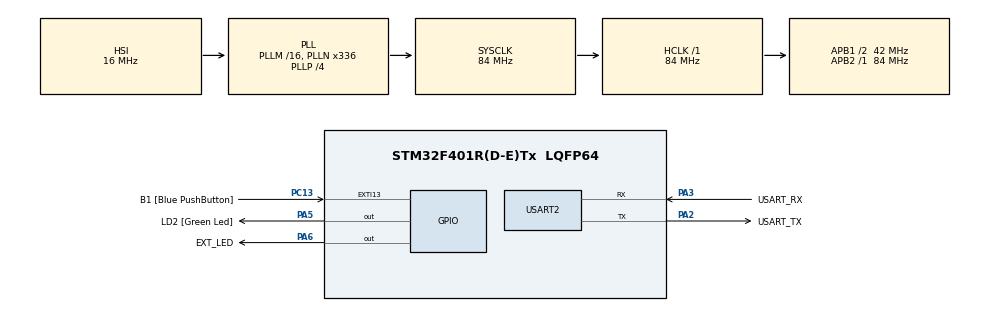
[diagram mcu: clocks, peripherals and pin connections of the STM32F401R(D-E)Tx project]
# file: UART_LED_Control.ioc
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Mcu.Family=STM32F4
Mcu.Name=STM32F401R(D-E)Tx
Mcu.Package=LQFP64
NVIC.EXTI15_10_IRQn=true\:0\:0\:false\:false\:true\:true\:true\:true
NVIC.PriorityGroup=NVIC_PRIORITYGROUP_4
NVIC.USART2_IRQn=true\:0\:0\:false\:false\:true\:true\:true\:true
PA13.GPIO_Label=TMS
PA13.Mode=Trace_Asynchronous_SW
PA13.Signal=SYS_JTMS-SWDIO
PA14.GPIO_Label=TCK
PA14.Mode=Trace_Asynchronous_SW
PA14.Signal=SYS_JTCK-SWCLK
PA2.GPIO_Label=USART_TX
PA2.GPIO_Mode=GPIO_MODE_AF_PP
PA2.GPIO_PuPd=GPIO_NOPULL
PA2.GPIO_Speed=GPIO_SPEED_FREQ_LOW
PA2.Mode=Asynchronous
PA2.Signal=USART2_TX
PA3.GPIO_Label=USART_RX
PA3.GPIO_Mode=GPIO_MODE_AF_PP
PA3.GPIO_PuPd=GPIO_NOPULL
PA3.GPIO_Speed=GPIO_SPEED_FREQ_LOW
PA3.Mode=Asynchronous
PA3.Signal=USART2_RX
PA5.GPIO_Label=LD2 [Green Led]
PA5.GPIO_Mode=GPIO_MODE_OUTPUT_PP
PA5.GPIO_PuPd=GPIO_NOPULL
PA5.GPIO_Speed=GPIO_SPEED_FREQ_LOW
PA5.Signal=GPIO_Output
PA6.GPIO_Label=EXT_LED
PA6.Signal=GPIO_Output
PB3.GPIO_Label=SWO
PB3.Mode=Trace_Asynchronous_SW
PB3.Signal=SYS_JTDO-SWO
PC13-ANTI_TAMP.GPIO_Label=B1 [Blue PushButton]
PC13-ANTI_TAMP.GPIO_ModeDefaultEXTI=GPIO_MODE_IT_FALLING
PC13-ANTI_TAMP.GPIO_PuPd=GPIO_NOPULL
PC13-ANTI_TAMP.Signal=GPXTI13
PC14-OSC32_IN.Mode=LSE-External-Oscillator
PC14-OSC32_IN.Signal=RCC_OSC32_IN
PC15-OSC32_OUT.Mode=LSE-External-Oscillator
PC15-OSC32_OUT.Signal=RCC_OSC32_OUT
PH0\ -\ OSC_IN.Mode=HSE-External-Clock-Source
PH0\ -\ OSC_IN.Signal=RCC_OSC_IN
PH1\ -\ OSC_OUT.Mode=HSE-External-Clock-Source
PH1\ -\ OSC_OUT.Signal=RCC_OSC_OUT
ProjectManager.HeapSize=0x200
ProjectManager.StackSize=0x400
ProjectManager.TargetToolchain=STM32CubeIDE
RCC.48MHZClocksFreq_Value=48000000
RCC.AHBFreq_Value=84000000
RCC.APB1CLKDivider=RCC_HCLK_DIV2
RCC.APB1Freq_Value=42000000
RCC.APB1TimFreq_Value=84000000
RCC.APB2Freq_Value=84000000
RCC.APB2TimFreq_Value=84000000
RCC.CortexFreq_Value=84000000
RCC.HCLKFreq_Value=84000000
RCC.HSE_VALUE=8000000
RCC.HSI_VALUE=16000000
RCC.PLLN=336
RCC.PLLP=RCC_PLLP_DIV4
RCC.PLLQ=7
RCC.SYSCLKFreq_VALUE=84000000
RCC.SYSCLKSource=RCC_SYSCLKSOURCE_PLLCLK
RCC.VCOOutputFreq_Value=336000000
USART2.VirtualMode=VM_ASYNC
board=NUCLEO-F401RE

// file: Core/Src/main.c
/* USER CODE BEGIN Header */
/**
  ******************************************************************************
  * @file           : main.c
  * @brief          : Main program body
  ******************************************************************************
  * @attention
  *
  * Copyright (c) 2026 STMicroelectronics.
  * All rights reserved.
  *
  * This software is licensed under terms that can be found in the LICENSE file
  * in the root directory of this software component.
  * If no LICENSE file comes with this software, it is provided AS-IS.
  *
  ******************************************************************************
  */
/* USER CODE END Header */
#include "main.h"

UART_HandleTypeDef huart2;

/* USER CODE BEGIN PV */
/* Temporary byte filled directly by UART reception */
	uint8_t uartRxByte;

	/* Command copied from uartRxByte */
	volatile uint8_t receivedByte;

	/* Set by the interrupt callback when a new command arrives */
	volatile uint8_t uartCommandReady = 0;

	/* Controls automatic blinking of the internal LED */
	uint8_t blinkMode = 0;

	/* Time of the previous LED toggle */
	uint32_t previousTime = 0;

/* USER CODE END PV */

void SystemClock_Config(void);
static void MX_GPIO_Init(void);
static void MX_USART2_UART_Init(void);

int main(void)
{

  /* MCU Configuration--------------------------------------------------------*/

  /* Reset of all peripherals, Initializes the Flash interface and the Systick. */
  HAL_Init();

  /* Configure the system clock */
  SystemClock_Config();

  /* Initialize all configured peripherals */
  MX_GPIO_Init();
  MX_USART2_UART_Init();
  /* USER CODE BEGIN 2 */
  /*
   * Prepare USART2 to receive one byte using interrupts.
   * This function returns immediately and does not block the CPU.
   */
  HAL_UART_Receive_IT(&huart2, &uartRxByte, 1);
  /* USER CODE END 2 */

  /* Infinite loop */
  while (1)
  {

    /* USER CODE BEGIN 3 */
	  /* USER CODE END WHILE */

	     /* USER CODE BEGIN 3 */

	     /*
	      * The UART callback sets this flag when a byte arrives.
	      */
	     if (uartCommandReady == 1)
	     {
	         /* Process this command only once */
	         uartCommandReady = 0;

	         if (receivedByte == '1')
	         {
	             /* Stop blinking and turn internal LED on */
	             blinkMode = 0;
	             HAL_GPIO_WritePin(LD2_GPIO_Port, LD2_Pin, GPIO_PIN_SET);

	             uint8_t message[] = "Internal LED ON\r\n";
	             HAL_UART_Transmit(
	                 &huart2,
	                 message,
	                 sizeof(message) - 1,
	                 HAL_MAX_DELAY
	             );
	         }
	         else if (receivedByte == '0')
	         {
	             /* Stop blinking and turn internal LED off */
	             blinkMode = 0;
	             HAL_GPIO_WritePin(LD2_GPIO_Port, LD2_Pin, GPIO_PIN_RESET);

	             uint8_t message[] = "Internal LED OFF\r\n";
	             HAL_UART_Transmit(
	                 &huart2,
	                 message,
	                 sizeof(message) - 1,
	                 HAL_MAX_DELAY
	             );
	         }
	         else if (receivedByte == '2')
	         {
	             /* Start automatic blinking */
	             blinkMode = 1;
	             previousTime = HAL_GetTick();

	             uint8_t message[] = "Internal LED BLINKING\r\n";
	             HAL_UART_Transmit(
	                 &huart2,
	                 message,
	                 sizeof(message) - 1,
	                 HAL_MAX_DELAY
	             );
	         }
	         else if (receivedByte == '3')
	         {
	             /* Turn external LED on */
	             HAL_GPIO_WritePin(
	                 EXT_LED_GPIO_Port,
	                 EXT_LED_Pin,
	                 GPIO_PIN_SET
	             );

	             uint8_t message[] = "External LED ON\r\n";
	             HAL_UART_Transmit(
	                 &huart2,
	                 message,
	                 sizeof(message) - 1,
	                 HAL_MAX_DELAY
	             );
	         }
	         else if (receivedByte == '4')
	         {
	             /* Turn external LED off */
	             HAL_GPIO_WritePin(
	                 EXT_LED_GPIO_Port,
	                 EXT_LED_Pin,
	                 GPIO_PIN_RESET
	             );

	             uint8_t message[] = "External LED OFF\r\n";
	             HAL_UART_Transmit(
	                 &huart2,
	                 message,
	                 sizeof(message) - 1,
	                 HAL_MAX_DELAY
	             );
	         }
	     }

	     /*
	      * This remains outside the UART command block so blinking
	      * continues even when no new command arrives.
	      */
	     if (blinkMode == 1)
	     {
	         if ((HAL_GetTick() - previousTime) >= 500)
	         {
	             HAL_GPIO_TogglePin(LD2_GPIO_Port, LD2_Pin);
	             previousTime = HAL_GetTick();
	         }
	     }
  }
  /* USER CODE END 3 */
}

void SystemClock_Config(void)
{
  RCC_OscInitTypeDef RCC_OscInitStruct = {0};
  RCC_ClkInitTypeDef RCC_ClkInitStruct = {0};

  /** Configure the main internal regulator output voltage
  */
  __HAL_RCC_PWR_CLK_ENABLE();
  __HAL_PWR_VOLTAGESCALING_CONFIG(PWR_REGULATOR_VOLTAGE_SCALE2);

  /** Initializes the RCC Oscillators according to the specified parameters
  * in the RCC_OscInitTypeDef structure.
  */
  RCC_OscInitStruct.OscillatorType = RCC_OSCILLATORTYPE_HSI;
  RCC_OscInitStruct.HSIState = RCC_HSI_ON;
  RCC_OscInitStruct.HSICalibrationValue = RCC_HSICALIBRATION_DEFAULT;
  RCC_OscInitStruct.PLL.PLLState = RCC_PLL_ON;
  RCC_OscInitStruct.PLL.PLLSource = RCC_PLLSOURCE_HSI;
  RCC_OscInitStruct.PLL.PLLM = 16;
  RCC_OscInitStruct.PLL.PLLN = 336;
  RCC_OscInitStruct.PLL.PLLP = RCC_PLLP_DIV4;
  RCC_OscInitStruct.PLL.PLLQ = 7;
  if (HAL_RCC_OscConfig(&RCC_OscInitStruct) != HAL_OK)
  {
    Error_Handler();
  }

  /** Initializes the CPU, AHB and APB buses clocks
  */
  RCC_ClkInitStruct.ClockType = RCC_CLOCKTYPE_HCLK|RCC_CLOCKTYPE_SYSCLK
                              |RCC_CLOCKTYPE_PCLK1|RCC_CLOCKTYPE_PCLK2;
  RCC_ClkInitStruct.SYSCLKSource = RCC_SYSCLKSOURCE_PLLCLK;
  RCC_ClkInitStruct.AHBCLKDivider = RCC_SYSCLK_DIV1;
  RCC_ClkInitStruct.APB1CLKDivider = RCC_HCLK_DIV2;
  RCC_ClkInitStruct.APB2CLKDivider = RCC_HCLK_DIV1;

  if (HAL_RCC_ClockConfig(&RCC_ClkInitStruct, FLASH_LATENCY_2) != HAL_OK)
  {
    Error_Handler();
  }
}

static void MX_USART2_UART_Init(void)
{

  huart2.Instance = USART2;
  huart2.Init.BaudRate = 115200;
  huart2.Init.WordLength = UART_WORDLENGTH_8B;
  huart2.Init.StopBits = UART_STOPBITS_1;
  huart2.Init.Parity = UART_PARITY_NONE;
  huart2.Init.Mode = UART_MODE_TX_RX;
  huart2.Init.HwFlowCtl = UART_HWCONTROL_NONE;
  huart2.Init.OverSampling = UART_OVERSAMPLING_16;
  if (HAL_UART_Init(&huart2) != HAL_OK)
  {
    Error_Handler();
  }

}

static void MX_GPIO_Init(void)
{
  GPIO_InitTypeDef GPIO_InitStruct = {0};

  /* GPIO Ports Clock Enable */
  __HAL_RCC_GPIOC_CLK_ENABLE();
  __HAL_RCC_GPIOH_CLK_ENABLE();
  __HAL_RCC_GPIOA_CLK_ENABLE();
  __HAL_RCC_GPIOB_CLK_ENABLE();

  /*Configure GPIO pin Output Level */
  HAL_GPIO_WritePin(GPIOA, LD2_Pin|EXT_LED_Pin, GPIO_PIN_RESET);

  /*Configure GPIO pin : B1_Pin */
  GPIO_InitStruct.Pin = B1_Pin;
  GPIO_InitStruct.Mode = GPIO_MODE_IT_FALLING;
  GPIO_InitStruct.Pull = GPIO_NOPULL;
  HAL_GPIO_Init(B1_GPIO_Port, &GPIO_InitStruct);

  /*Configure GPIO pins : LD2_Pin EXT_LED_Pin */
  GPIO_InitStruct.Pin = LD2_Pin|EXT_LED_Pin;
  GPIO_InitStruct.Mode = GPIO_MODE_OUTPUT_PP;
  GPIO_InitStruct.Pull = GPIO_NOPULL;
  GPIO_InitStruct.Speed = GPIO_SPEED_FREQ_LOW;
  HAL_GPIO_Init(GPIOA, &GPIO_InitStruct);

  /* EXTI interrupt init*/
  HAL_NVIC_SetPriority(EXTI15_10_IRQn, 0, 0);
  HAL_NVIC_EnableIRQ(EXTI15_10_IRQn);

}

/* USER CODE BEGIN 4 */
/**
 * @brief Called automatically after USART2 receives one byte.
 */
void HAL_UART_RxCpltCallback(UART_HandleTypeDef *huart)
{
    /* Confirm that USART2 caused the callback */
    if (huart->Instance == USART2)
    {
        /* Copy the received byte into the command variable */
        receivedByte = uartRxByte;

        /* Tell the main loop that a command is ready */
        uartCommandReady = 1;

        /*
         * Prepare reception for the next byte.
         * Reception must be restarted because we requested only one byte.
         */
        HAL_UART_Receive_IT(&huart2, &uartRxByte, 1);
    }
}

/**
 * @brief Called when the onboard button generates an EXTI interrupt.
 */
void HAL_GPIO_EXTI_Callback(uint16_t GPIO_Pin)
{
    static uint32_t lastButtonTime = 0;

    if (GPIO_Pin == B1_Pin)
    {
        /* Simple 200 ms debounce */
        if ((HAL_GetTick() - lastButtonTime) >= 200)
        {
            HAL_GPIO_TogglePin(
                EXT_LED_GPIO_Port,
                EXT_LED_Pin
            );

            lastButtonTime = HAL_GetTick();
        }
    }
}
/* USER CODE END 4 */

void Error_Handler(void)
{
  __disable_irq();
  while (1)
  {
  }
}
